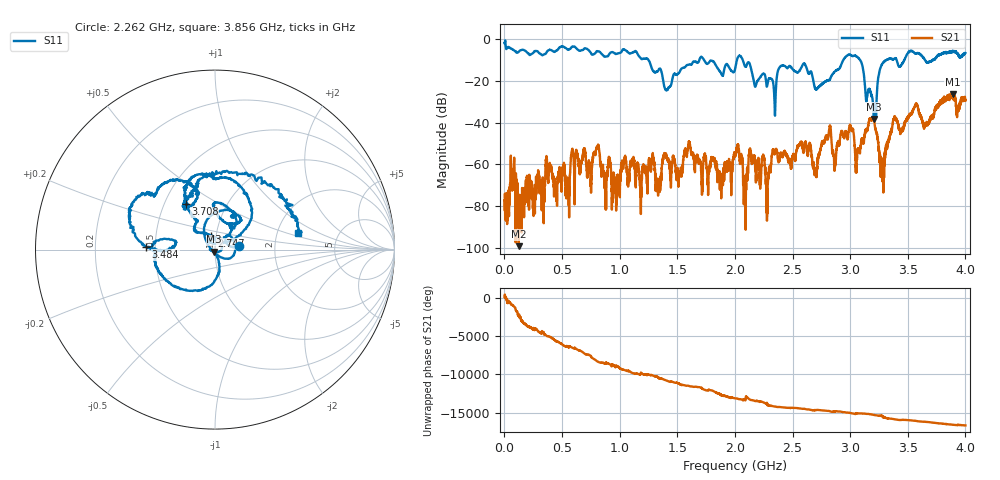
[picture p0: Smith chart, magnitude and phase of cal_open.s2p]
!Created with skrf (http://scikit-rf.org).
# GHz S RI R 50.0
!freq ReS11 ImS11 ReS21 ImS21 ReS12 ImS12 ReS22 ImS22
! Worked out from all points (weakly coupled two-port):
!   4000 points, 1 MHz to 4 GHz, reference 50 ohm
!   highest |S21| = -26.17 dB at 3.892 GHz (marker M1); lowest = -99.2 dB at 124 MHz (marker M2)
!   lowest |S11| = -38.2 dB at 3.206 GHz (marker M3), VSWR 1.02, Z = 49.6 - j1.14 ohm
!   |S11| at or under -10 dB: 1.25 GHz to 1.69 GHz (440.2 MHz wide, 29.9 % of centre); 1.733 GHz to 2.017 GHz (284.1 MHz wide, 15.2 % of centre); 2.068 GHz to 2.94 GHz (871.5 MHz wide, 34.8 % of centre) (the widest 3 of 7)
!   S12 and S22 are empty: the file has one direction only
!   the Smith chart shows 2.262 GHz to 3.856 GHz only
!   S11 on the Smith chart (normalised r, x): 2.262 GHz: 1.31, +0.06; 2.747 GHz: 0.95, +0.15; 3.484 GHz: 0.44, +0.02; 3.708 GHz: 0.64, +0.36; 3.856 GHz: 2.59, +0.63
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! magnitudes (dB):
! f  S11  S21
! 1 MHz  -1.8  -77.2
! 70 MHz  -4.8  -72.3
! 124 MHz  -5.9  -99.2
! 668 MHz  -5.3  -59.5
! 1.334 GHz  -15.1  -66.9
! 1.393 GHz  -23.6  -54.9
! 1.876 GHz  -15.9  -68.5
! 2.001 GHz  -14.3  -56.4
! 2.09 GHz  -13.2  -73.4
! 2.262 GHz  -17.4  -64.8
! 2.667 GHz  -16.3  -55.6
! 2.747 GHz  -21.9  -51.5
! 3.008 GHz  -7.7  -42.8
! 3.049 GHz  -8.0  -63.9
! 3.206 GHz  -38.2  -38.5
! 3.275 GHz  -12.0  -60.8
! 3.334 GHz  -9.5  -49.0
! 3.484 GHz  -8.3  -38.7
! 3.708 GHz  -10.4  -37.1
! 3.856 GHz  -6.6  -28.8
! 3.892 GHz  -5.5  -26.2
! 4 GHz  -6.6  -29.4
